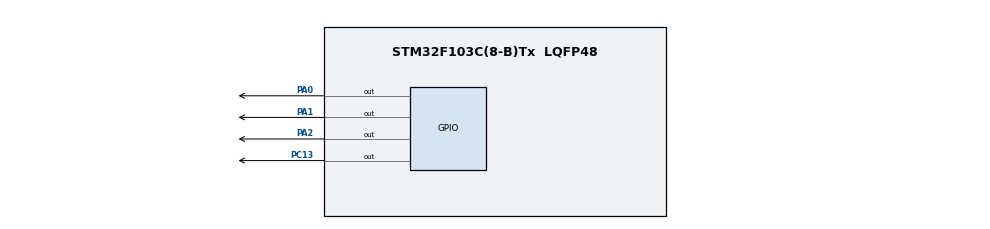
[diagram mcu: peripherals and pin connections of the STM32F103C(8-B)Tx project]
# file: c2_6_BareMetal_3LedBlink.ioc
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Mcu.Family=STM32F1
Mcu.Name=STM32F103C(8-B)Tx
Mcu.Package=LQFP48
NVIC.PriorityGroup=NVIC_PRIORITYGROUP_4
PA0-WKUP.Signal=GPIO_Output
PA1.Signal=GPIO_Output
PA2.Signal=GPIO_Output
PC13-TAMPER-RTC.Signal=GPIO_Output
ProjectManager.HeapSize=0x200
ProjectManager.StackSize=0x400
ProjectManager.TargetToolchain=STM32CubeIDE
RCC.APB1Freq_Value=8000000
RCC.APB2Freq_Value=8000000
board=custom

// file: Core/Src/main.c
/* USER CODE BEGIN Header */
/**
  ******************************************************************************
  * @file           : main.c
  * @brief          : Main program body
  ******************************************************************************
  * @attention
  *
  * Copyright (c) 2025 STMicroelectronics.
  * All rights reserved.
  *
  * This software is licensed under terms that can be found in the LICENSE file
  * in the root directory of this software component.
  * If no LICENSE file comes with this software, it is provided AS-IS.
  *
  ******************************************************************************
  */
/* USER CODE END Header */
#include "main.h"

void SystemClock_Config(void);
static void MX_GPIO_Init(void);

int main(void)
{

  /* MCU Configuration--------------------------------------------------------*/

  /* Reset of all peripherals, Initializes the Flash interface and the Systick. */
  HAL_Init();

  /* Configure the system clock */
  SystemClock_Config();

  /* Initialize all configured peripherals */
  MX_GPIO_Init();

  /* Infinite loop */
  /* USER CODE BEGIN WHILE */
  HAL_GPIO_WritePin(GPIOA, GPIO_PIN_0|GPIO_PIN_1|GPIO_PIN_2, 1);
  HAL_GPIO_TogglePin(GPIOA, GPIO_PIN_0);
  HAL_GPIO_TogglePin(GPIOA, GPIO_PIN_1);
  HAL_GPIO_TogglePin(GPIOA, GPIO_PIN_2);   //1
  HAL_Delay(1000);
  while (1)
  {
    /* USER CODE END WHILE */

    /* USER CODE BEGIN 3 */

	  HAL_GPIO_TogglePin(GPIOA, GPIO_PIN_0);   //2
	  HAL_Delay(1000);
	  HAL_GPIO_TogglePin(GPIOA, GPIO_PIN_0);
	  HAL_GPIO_TogglePin(GPIOA, GPIO_PIN_1);   //3
	  HAL_Delay(1000);
	  HAL_GPIO_TogglePin(GPIOA, GPIO_PIN_0);   //4
	  HAL_Delay(1000);
	  HAL_GPIO_TogglePin(GPIOA, GPIO_PIN_0);
	  HAL_GPIO_TogglePin(GPIOA, GPIO_PIN_1);
	  HAL_GPIO_TogglePin(GPIOA, GPIO_PIN_2);   //5
	  HAL_Delay(1000);
	  HAL_GPIO_TogglePin(GPIOA, GPIO_PIN_0);   //6
	  HAL_Delay(1000);
	  HAL_GPIO_TogglePin(GPIOA, GPIO_PIN_0);
	  HAL_GPIO_TogglePin(GPIOA, GPIO_PIN_1);   //7
	  HAL_Delay(1000);
	  HAL_GPIO_TogglePin(GPIOA, GPIO_PIN_0);   //8
	  HAL_Delay(1000);
	  HAL_GPIO_TogglePin(GPIOA, GPIO_PIN_0);
	  HAL_GPIO_TogglePin(GPIOA, GPIO_PIN_1);
	  HAL_GPIO_TogglePin(GPIOA, GPIO_PIN_2);   //9
	  HAL_Delay(1000);
  }
  /* USER CODE END 3 */
}

void SystemClock_Config(void)
{
  RCC_OscInitTypeDef RCC_OscInitStruct = {0};
  RCC_ClkInitTypeDef RCC_ClkInitStruct = {0};

  /** Initializes the RCC Oscillators according to the specified parameters
  * in the RCC_OscInitTypeDef structure.
  */
  RCC_OscInitStruct.OscillatorType = RCC_OSCILLATORTYPE_HSI;
  RCC_OscInitStruct.HSIState = RCC_HSI_ON;
  RCC_OscInitStruct.HSICalibrationValue = RCC_HSICALIBRATION_DEFAULT;
  RCC_OscInitStruct.PLL.PLLState = RCC_PLL_NONE;
  if (HAL_RCC_OscConfig(&RCC_OscInitStruct) != HAL_OK)
  {
    Error_Handler();
  }

  /** Initializes the CPU, AHB and APB buses clocks
  */
  RCC_ClkInitStruct.ClockType = RCC_CLOCKTYPE_HCLK|RCC_CLOCKTYPE_SYSCLK
                              |RCC_CLOCKTYPE_PCLK1|RCC_CLOCKTYPE_PCLK2;
  RCC_ClkInitStruct.SYSCLKSource = RCC_SYSCLKSOURCE_HSI;
  RCC_ClkInitStruct.AHBCLKDivider = RCC_SYSCLK_DIV1;
  RCC_ClkInitStruct.APB1CLKDivider = RCC_HCLK_DIV1;
  RCC_ClkInitStruct.APB2CLKDivider = RCC_HCLK_DIV1;

  if (HAL_RCC_ClockConfig(&RCC_ClkInitStruct, FLASH_LATENCY_0) != HAL_OK)
  {
    Error_Handler();
  }
}

static void MX_GPIO_Init(void)
{
  GPIO_InitTypeDef GPIO_InitStruct = {0};

  /* GPIO Ports Clock Enable */
  __HAL_RCC_GPIOC_CLK_ENABLE();
  __HAL_RCC_GPIOA_CLK_ENABLE();

  /*Configure GPIO pin Output Level */
  HAL_GPIO_WritePin(GPIOC, GPIO_PIN_13, GPIO_PIN_RESET);

  /*Configure GPIO pin Output Level */
  HAL_GPIO_WritePin(GPIOA, GPIO_PIN_0|GPIO_PIN_1|GPIO_PIN_2, GPIO_PIN_RESET);

  /*Configure GPIO pin : PC13 */
  GPIO_InitStruct.Pin = GPIO_PIN_13;
  GPIO_InitStruct.Mode = GPIO_MODE_OUTPUT_PP;
  GPIO_InitStruct.Pull = GPIO_NOPULL;
  GPIO_InitStruct.Speed = GPIO_SPEED_FREQ_LOW;
  HAL_GPIO_Init(GPIOC, &GPIO_InitStruct);

  /*Configure GPIO pins : PA0 PA1 PA2 */
  GPIO_InitStruct.Pin = GPIO_PIN_0|GPIO_PIN_1|GPIO_PIN_2;
  GPIO_InitStruct.Mode = GPIO_MODE_OUTPUT_PP;
  GPIO_InitStruct.Pull = GPIO_NOPULL;
  GPIO_InitStruct.Speed = GPIO_SPEED_FREQ_LOW;
  HAL_GPIO_Init(GPIOA, &GPIO_InitStruct);

}

void Error_Handler(void)
{
  __disable_irq();
  while (1)
  {
  }
}
